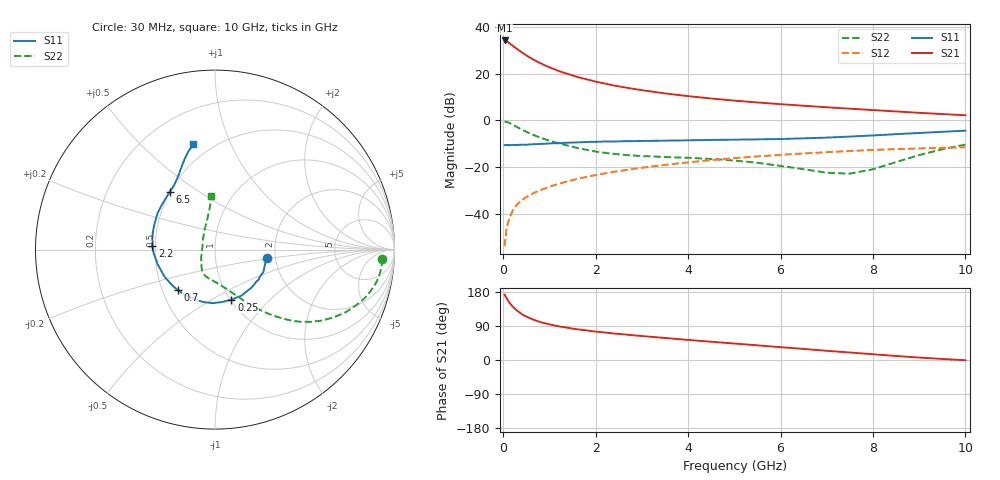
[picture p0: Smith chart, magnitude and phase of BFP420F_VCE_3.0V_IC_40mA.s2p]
! Infineon Technologies  Discrete & RF Semiconductors
! BFP420F
! VCE =  3.0 V,  IC =  40 mA
! Common Emitter S-Parameters:  Sep 2011
# GHz  S  MA  R  50
!  f  S11  S21  S12  S22
! GHz  MAG  ANG  MAG  ANG  MAG  ANG  MAG  ANG
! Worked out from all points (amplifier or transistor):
!   54 points, 30 MHz to 10 GHz, reference 50 ohm
!   highest |S21| = 34.2 dB at 30 MHz (marker M1)
!   |S21| within 3 dB of that: start of sweep to 253.7 MHz
!   unconditionally stable (mu >= 1): 1.385 GHz to end of sweep
!   at 120 MHz: K = 0.38, MSG = 38.1 dB, |S12| = -43.0 dB
!   at 1.3 GHz: K = 0.99, MSG = 23.6 dB, |S12| = -26.7 dB
!   at 10 GHz: K = 1.22, MAG = 4.1 dB, |S12| = -11.6 dB
!   S11 on the Smith chart (normalised r, x): 30 MHz: 1.80, -0.19; 250 MHz: 1.01, -0.62; 700 MHz: 0.60, -0.30; 2.2 GHz: 0.48, +0.02; 6.5 GHz: 0.50, +0.39; 10 GHz: 0.40, +0.73
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0.03  0.2927 -9.7  51.26 172.4  0.002 90.7  0.9326 -3.2
0.05  0.2897 -15.2  50.08 167.6  0.0028 88.7  0.9313 -6.5
0.07  0.2957 -22.6  49.35 163.7  0.0046 86.8  0.9239 -9.8
0.08  0.2964 -25.4  48.46 161.5  0.005 84.4  0.9178 -11.3
0.12  0.2909 -38.3  45.88 153.7  0.0071 80.4  0.8851 -16.8
0.15  0.2932 -46.8  43.48 148.9  0.0087 78.7  0.8568 -20.3
0.2  0.2959 -60.1  39.91 141.8  0.0113 76.0  0.8081 -25.6
0.25  0.2936 -71.8  36.51 135.5  0.0134 73.6  0.7581 -30.0
0.35  0.2983 -91.9  30.95 125.5  0.0175 70.9  0.6698 -36.9
0.45  0.2994 -107.0  26.47 117.8  0.0209 69.2  0.5969 -41.9
0.6  0.3041 -124.3  21.32 109.1  0.0256 68.0  0.508 -47.4
0.7  0.3065 -132.9  18.86 104.3  0.0287 67.7  0.4643 -50.3
0.9  0.313 -145.9  15.02 97.1  0.0345 67.5  0.3931 -54.9
1.1  0.3202 -155.5  12.46 91.4  0.0404 67.2  0.3408 -59.1
1.7  0.3378 -173.9  7.988 79.7  0.0579 66.1  0.2427 -70.7
2.2  0.3498 176.3  6.119 72.6  0.0725 64.5  0.2003 -81.3
3.5  0.3651 158.0  3.758 58.1  0.1106 58.2  0.1629 -103.4
5.5  0.3888 138.8  2.403 38.7  0.1677 45.7  0.1226 -128.0
6.5  0.4091 128.1  2.044 29.2  0.194 39.0  0.0894 -150.0
7  0.4244 122.5  1.897 24.3  0.2065 35.6  0.0749 -168.1
8.5  0.5031 111.4  1.543 10.6  0.2403 24.6  0.1273 116.9
10  0.5982 101.7  1.279 -0.6  0.2632 15.2  0.3013 93.8
